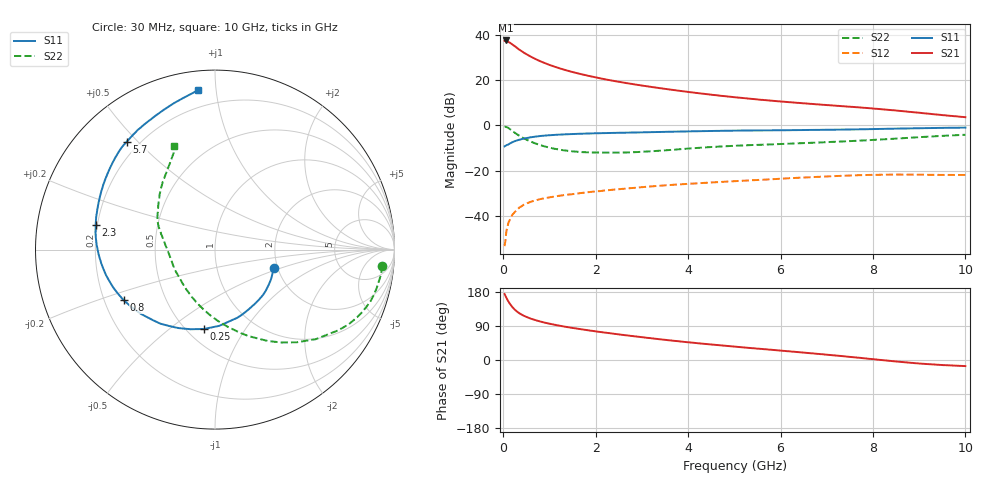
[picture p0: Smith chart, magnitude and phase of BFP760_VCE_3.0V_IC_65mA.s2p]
! (c) 2012  Infineon Technologies AG, Munich
! Infineon Technologies  Discrete & RF Semiconductors
! BFP760
! VCE =  3.0 V,  IC =  65 mA
! Common Emitter S-Parameters:  Nov 2012
# GHz  S  MA  R  50
!  f  S11  S21  S12  S22
! GHz  MAG  ANG  MAG  ANG  MAG  ANG  MAG  ANG
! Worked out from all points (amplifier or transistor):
!   99 points, 30 MHz to 10 GHz, reference 50 ohm
!   highest |S21| = 37.7 dB at 50 MHz (marker M1)
!   |S21| within 3 dB of that: start of sweep to 278.8 MHz
!   unconditionally stable (mu >= 1): 3.305 GHz to end of sweep
!   at 350 MHz: K = 0.43, MSG = 35.0 dB, |S12| = -36.4 dB
!   at 3.5 GHz: K = 1.01, MAG = 20.7 dB, |S12| = -26.6 dB
!   at 10 GHz: K = 1.04, MAG = 11.6 dB, |S12| = -22.0 dB
!   S11 on the Smith chart (normalised r, x): 30 MHz: 1.90, -0.45; 250 MHz: 0.60, -0.67; 800 MHz: 0.28, -0.24; 2.3 GHz: 0.19, +0.10; 5.7 GHz: 0.15, +0.46; 10 GHz: 0.10, +0.89
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0.03  0.3431 -17.7  75.01 173.9  0.0021 85.9  0.935 -5.5
0.04  0.3475 -23.2  75.33 171.7  0.0025 79.3  0.9359 -8.3
0.05  0.3533 -28.1  76.51 168.7  0.0029 85.8  0.9302 -10.7
0.07  0.3638 -38.8  75.9 163.7  0.0046 74.8  0.9202 -15.9
0.09  0.3707 -48.2  73.89 159.1  0.0054 74.1  0.9026 -20.6
0.15  0.3998 -72.1  67.62 147.3  0.0086 68.0  0.8209 -33.2
0.2  0.4256 -86.9  62.01 139.3  0.0105 64.6  0.7515 -41.6
0.25  0.447 -98.1  57.04 132.9  0.012 60.8  0.6884 -48.6
0.3  0.4646 -107.3  52.14 127.6  0.0134 59.1  0.6355 -54.5
0.35  0.4823 -115.0  47.63 123.3  0.0151 56.8  0.5889 -59.9
0.45  0.5127 -126.4  40.77 116.5  0.0175 53.2  0.5156 -69.0
0.6  0.5464 -139.0  33.34 109.0  0.0203 49.0  0.4355 -80.7
0.8  0.5818 -151.0  26.55 101.6  0.0232 45.8  0.3666 -94.2
1.2  0.6238 -166.9  18.72 90.9  0.0274 42.7  0.2925 -116.5
1.7  0.6546 179.7  13.58 80.9  0.0318 41.8  0.2558 -137.9
2.3  0.6791 168.2  10.09 70.8  0.0368 41.2  0.2488 -157.5
3.4  0.7157 151.2  6.678 54.6  0.046 39.5  0.2757 175.5
5.1  0.7676 133.5  4.126 34.3  0.0587 35.0  0.3569 153.7
5.7  0.7766 129.4  3.61 28.0  0.0631 33.4  0.3768 148.1
6.7  0.7944 122.4  2.981 17.4  0.0715 29.3  0.4129 139.4
8.5  0.8484 105.4  2.14 -3.9  0.0813 17.3  0.5093 122.0
10  0.894 96.2  1.522 -16.1  0.0796 11.7  0.6204 111.5
